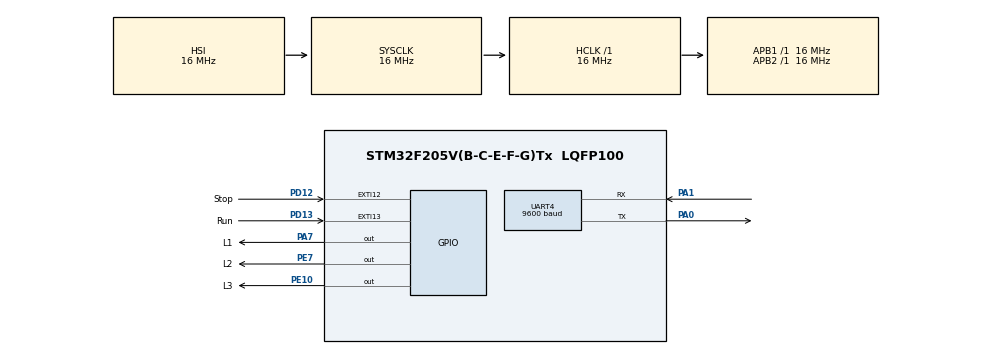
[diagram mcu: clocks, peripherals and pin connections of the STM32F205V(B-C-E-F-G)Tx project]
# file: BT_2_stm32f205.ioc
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Mcu.Family=STM32F2
Mcu.Name=STM32F205V(B-C-E-F-G)Tx
Mcu.Package=LQFP100
NVIC.EXTI15_10_IRQn=true\:0\:0\:false\:false\:true\:true\:true\:true
NVIC.PriorityGroup=NVIC_PRIORITYGROUP_4
NVIC.UART4_IRQn=true\:1\:0\:true\:false\:true\:true\:true\:true
PA0-WKUP.Mode=Asynchronous
PA0-WKUP.Signal=UART4_TX
PA1.Mode=Asynchronous
PA1.Signal=UART4_RX
PA13.Mode=Serial_Wire
PA13.Signal=SYS_JTMS-SWDIO
PA14.Mode=Serial_Wire
PA14.Signal=SYS_JTCK-SWCLK
PA7.GPIO_Label=L1
PA7.Signal=GPIO_Output
PD12.GPIO_Label=Stop
PD12.GPIO_ModeDefaultEXTI=GPIO_MODE_IT_RISING_FALLING
PD12.Signal=GPXTI12
PD13.GPIO_Label=Run
PD13.GPIO_ModeDefaultEXTI=GPIO_MODE_IT_RISING_FALLING
PD13.Signal=GPXTI13
PE10.GPIO_Label=L3
PE10.Signal=GPIO_Output
PE7.GPIO_Label=L2
PE7.Signal=GPIO_Output
ProjectManager.HeapSize=0x200
ProjectManager.StackSize=0x400
ProjectManager.TargetToolchain=MDK-ARM V5.32
RCC.48MHZClocksFreq_Value=48000000
RCC.AHBFreq_Value=16000000
RCC.APB1Freq_Value=16000000
RCC.APB2Freq_Value=16000000
RCC.CortexFreq_Value=16000000
RCC.HSE_VALUE=25000000
RCC.HSI_VALUE=16000000
RCC.LSE_VALUE=32768
RCC.SYSCLKFreq_VALUE=16000000
RCC.VCOOutputFreq_Value=192000000
UART4.BaudRate=9600
UART4.VirtualMode=Asynchronous
board=custom

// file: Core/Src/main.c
/* USER CODE BEGIN Header */
/**
  ******************************************************************************
  * @file           : main.c
  * @brief          : Main program body
  ******************************************************************************
  * @attention
  *
  * Copyright (c) 2025 STMicroelectronics.
  * All rights reserved.
  *
  * This software is licensed under terms that can be found in the LICENSE file
  * in the root directory of this software component.
  * If no LICENSE file comes with this software, it is provided AS-IS.
  *
  ******************************************************************************
  */
/* USER CODE END Header */
#include "main.h"
#define __FILE_INCOMPLETE 1
#include <stdio.h>
#include <string.h>

UART_HandleTypeDef huart4;

/* USER CODE BEGIN PV */
struct __FILE
{
  int handle;
  /* Whatever you require here. If the only file you are using is */
  /* standard output using printf() for debugging, no file handling */
  /* is required. */
};
/* FILE is typedef'd in stdio.h. */
FILE __stdout;
int fputc(int ch, FILE *f)
{
  HAL_UART_Transmit(&huart4,(uint8_t*)&ch, 1, HAL_MAX_DELAY);
  return ch;
}
FILE __stdin;
int fgetc(FILE *f)
{
  uint8_t ch = 0;
	__HAL_UART_CLEAR_OREFLAG(&huart4);
	HAL_UART_Receive(&huart4, (uint8_t*)&ch,1, HAL_MAX_DELAY);
  return ch;
}
/* USER CODE END PV */

void SystemClock_Config(void);
static void MX_GPIO_Init(void);
static void MX_UART4_Init(void);

/* USER CODE BEGIN 0 */
uint8_t text[1];

#define BUTTON_PIN1 GPIO_PIN_12
#define BUTTON_PORT1 GPIOD
#define BUTTON_PIN2 GPIO_PIN_13
#define BUTTON_PORT2 GPIOD

void HAL_GPIO_EXTI_Callback(uint16_t GPIO_Pin)
{
  if(GPIO_Pin == BUTTON_PIN2){
		if(HAL_GPIO_ReadPin(BUTTON_PORT2, BUTTON_PIN2) == GPIO_PIN_RESET){
			printf("1");
		}
		else printf("0");

	}
	else if(GPIO_Pin == BUTTON_PIN1){
		if(HAL_GPIO_ReadPin(BUTTON_PORT1, BUTTON_PIN1) == GPIO_PIN_RESET){
			printf("2");
		}
		else printf("0");;
	}
}

void HAL_UART_RxCpltCallback(UART_HandleTypeDef *huart)
{
	int led1 = (text[0] >> 0) & 1;
	int led2 = (text[0] >> 1) & 1;
	int led3 = (text[0] >> 2) & 1;

	if(led1 == 1){
		HAL_GPIO_WritePin(L1_GPIO_Port, L1_Pin, 0);
	}
	else HAL_GPIO_WritePin(L1_GPIO_Port, L1_Pin, 1);

	if(led2 == 1){
		HAL_GPIO_WritePin(L2_GPIO_Port, L2_Pin, 0);
	}
	else HAL_GPIO_WritePin(L2_GPIO_Port, L2_Pin, 1);

	if(led3 == 1){
		HAL_GPIO_WritePin(L3_GPIO_Port, L3_Pin, 0);
	}
	else HAL_GPIO_WritePin(L3_GPIO_Port, L3_Pin, 1);

	HAL_UART_Receive_IT(&huart4, text, 1);
}

/* USER CODE END 0 */

int main(void)
{

  /* MCU Configuration--------------------------------------------------------*/

  /* Reset of all peripherals, Initializes the Flash interface and the Systick. */
  HAL_Init();

  /* Configure the system clock */
  SystemClock_Config();

  /* Initialize all configured peripherals */
  MX_GPIO_Init();
  MX_UART4_Init();

  /* Infinite loop */
  /* USER CODE BEGIN WHILE */

	HAL_UART_Receive_IT(&huart4, text, 1);

	HAL_GPIO_WritePin(L1_GPIO_Port, L1_Pin, 1);
	HAL_GPIO_WritePin(L2_GPIO_Port, L2_Pin, 1);
	HAL_GPIO_WritePin(L3_GPIO_Port, L3_Pin, 1);
  while (1)
  {

    /* USER CODE END WHILE */

  }
}

void SystemClock_Config(void)
{
  RCC_OscInitTypeDef RCC_OscInitStruct = {0};
  RCC_ClkInitTypeDef RCC_ClkInitStruct = {0};

  /** Initializes the RCC Oscillators according to the specified parameters
  * in the RCC_OscInitTypeDef structure.
  */
  RCC_OscInitStruct.OscillatorType = RCC_OSCILLATORTYPE_HSI;
  RCC_OscInitStruct.HSIState = RCC_HSI_ON;
  RCC_OscInitStruct.HSICalibrationValue = RCC_HSICALIBRATION_DEFAULT;
  RCC_OscInitStruct.PLL.PLLState = RCC_PLL_NONE;
  if (HAL_RCC_OscConfig(&RCC_OscInitStruct) != HAL_OK)
  {
    Error_Handler();
  }

  /** Initializes the CPU, AHB and APB buses clocks
  */
  RCC_ClkInitStruct.ClockType = RCC_CLOCKTYPE_HCLK|RCC_CLOCKTYPE_SYSCLK
                              |RCC_CLOCKTYPE_PCLK1|RCC_CLOCKTYPE_PCLK2;
  RCC_ClkInitStruct.SYSCLKSource = RCC_SYSCLKSOURCE_HSI;
  RCC_ClkInitStruct.AHBCLKDivider = RCC_SYSCLK_DIV1;
  RCC_ClkInitStruct.APB1CLKDivider = RCC_HCLK_DIV1;
  RCC_ClkInitStruct.APB2CLKDivider = RCC_HCLK_DIV1;

  if (HAL_RCC_ClockConfig(&RCC_ClkInitStruct, FLASH_LATENCY_0) != HAL_OK)
  {
    Error_Handler();
  }
}

static void MX_UART4_Init(void)
{

  huart4.Instance = UART4;
  huart4.Init.BaudRate = 9600;
  huart4.Init.WordLength = UART_WORDLENGTH_8B;
  huart4.Init.StopBits = UART_STOPBITS_1;
  huart4.Init.Parity = UART_PARITY_NONE;
  huart4.Init.Mode = UART_MODE_TX_RX;
  huart4.Init.HwFlowCtl = UART_HWCONTROL_NONE;
  huart4.Init.OverSampling = UART_OVERSAMPLING_16;
  if (HAL_UART_Init(&huart4) != HAL_OK)
  {
    Error_Handler();
  }

}

static void MX_GPIO_Init(void)
{
  GPIO_InitTypeDef GPIO_InitStruct = {0};

  /* GPIO Ports Clock Enable */
  __HAL_RCC_GPIOA_CLK_ENABLE();
  __HAL_RCC_GPIOE_CLK_ENABLE();
  __HAL_RCC_GPIOD_CLK_ENABLE();

  /*Configure GPIO pin Output Level */
  HAL_GPIO_WritePin(L1_GPIO_Port, L1_Pin, GPIO_PIN_RESET);

  /*Configure GPIO pin Output Level */
  HAL_GPIO_WritePin(GPIOE, L2_Pin|L3_Pin, GPIO_PIN_RESET);

  /*Configure GPIO pin : L1_Pin */
  GPIO_InitStruct.Pin = L1_Pin;
  GPIO_InitStruct.Mode = GPIO_MODE_OUTPUT_PP;
  GPIO_InitStruct.Pull = GPIO_NOPULL;
  GPIO_InitStruct.Speed = GPIO_SPEED_FREQ_LOW;
  HAL_GPIO_Init(L1_GPIO_Port, &GPIO_InitStruct);

  /*Configure GPIO pins : L2_Pin L3_Pin */
  GPIO_InitStruct.Pin = L2_Pin|L3_Pin;
  GPIO_InitStruct.Mode = GPIO_MODE_OUTPUT_PP;
  GPIO_InitStruct.Pull = GPIO_NOPULL;
  GPIO_InitStruct.Speed = GPIO_SPEED_FREQ_LOW;
  HAL_GPIO_Init(GPIOE, &GPIO_InitStruct);

  /*Configure GPIO pins : Stop_Pin Run_Pin */
  GPIO_InitStruct.Pin = Stop_Pin|Run_Pin;
  GPIO_InitStruct.Mode = GPIO_MODE_IT_RISING_FALLING;
  GPIO_InitStruct.Pull = GPIO_NOPULL;
  HAL_GPIO_Init(GPIOD, &GPIO_InitStruct);

  /* EXTI interrupt init*/
  HAL_NVIC_SetPriority(EXTI15_10_IRQn, 0, 0);
  HAL_NVIC_EnableIRQ(EXTI15_10_IRQn);

}

void Error_Handler(void)
{
  __disable_irq();
  while (1)
  {
  }
}
